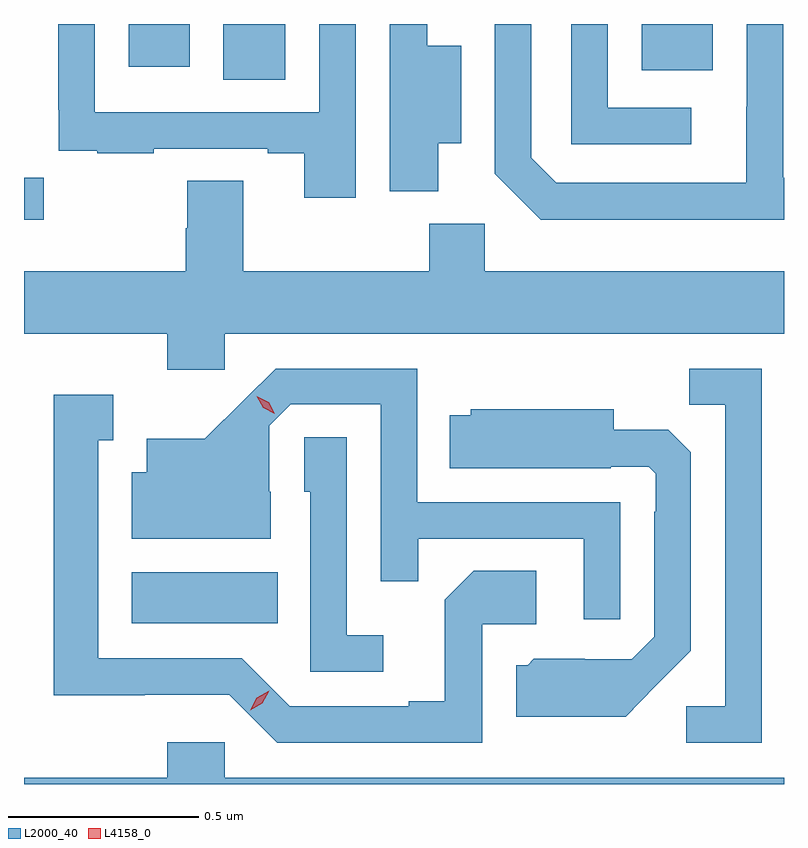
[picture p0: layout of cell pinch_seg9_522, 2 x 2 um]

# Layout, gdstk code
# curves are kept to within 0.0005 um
import gdstk
lib = gdstk.Library(unit=1e-6, precision=1e-09)
def R(c, l, rs):  # rectangles x0, y0, x1, y1
    for r in rs: c.add(gdstk.rectangle(r[:2], r[2:], *l))
def P(c, l, *ps):  # polygons
    for p in ps: c.add(gdstk.Polygon(p, *l))
L2000_40 = (2000, 40)
L4158_0 = (4158, 0)

pinch_seg9_522 = lib.new_cell('pinch_seg9_522')
R(pinch_seg9_522, L2000_40, [(281.894,1200.986,282.278,1201.12), (281.61,1202.048,281.662,1202.158), (282.134,1202.416,282.298,1202.563), (283.235,1202.441,283.423,1202.563), (281.885,1202.451,282.046,1202.563)])
P(pinch_seg9_522, L2000_40, [(283.61,1202.158),(283.608,1202.158),(283.608,1202.563),(283.512,1202.563),(283.512,1202.345),(283.511,1202.345),(283.511,1202.145),(283.011,1202.145),(282.945,1202.211),(282.945,1202.563),(282.849,1202.563),(282.849,1202.169),(282.97,1202.048),(283.61,1202.048)],
  [(282.7,1202.249),(282.76,1202.249),(282.76,1202.506),(282.671,1202.506),(282.671,1202.563),(282.573,1202.563),(282.573,1202.123),(282.7,1202.123)],
  [(282.483,1202.563),(282.387,1202.563),(282.387,1202.331),(281.796,1202.331),(281.796,1202.563),(281.7,1202.563),(281.7,1202.338),(281.701,1202.338),(281.701,1202.229),(281.803,1202.229),(281.803,1202.223),(281.951,1202.223),(281.951,1202.235),(282.251,1202.235),(282.251,1202.223),(282.347,1202.223),(282.347,1202.106),(282.483,1202.106)],
  [(283.366,1202.343),(283.146,1202.343),(283.146,1202.563),(283.05,1202.563),(283.05,1202.247),(283.366,1202.247)],
  [(282.138,1201.748),(283.61,1201.748),(283.61,1201.912),(282.822,1201.912),(282.822,1202.038),(282.676,1202.038),(282.676,1201.912),(282.187,1201.912),(282.187,1202.15),(282.04,1202.15),(282.04,1202.025),(282.035,1202.025),(282.035,1201.912),(281.61,1201.912),(281.61,1201.748),(281.987,1201.748),(281.987,1201.653),(282.138,1201.653)],
  [(283.551,1201.656),(283.36,1201.656),(283.36,1201.561),(283.455,1201.561),(283.455,1200.768),(283.353,1200.768),(283.353,1200.672),(283.551,1200.672)],
  [(283.179,1201.305),(282.645,1201.305),(282.645,1201.656),(282.272,1201.656),(282.085,1201.471),(281.933,1201.471),(281.933,1201.384),(281.894,1201.384),(281.894,1201.208),(282.259,1201.208),(282.259,1201.332),(282.255,1201.332),(282.255,1201.506),(282.312,1201.563),(282.549,1201.563),(282.549,1201.096),(282.647,1201.096),(282.647,1201.209),(283.083,1201.209),(283.083,1200.996),(283.179,1200.996)],
  [(282.816,1200.984),(282.958,1200.984),(282.958,1201.124),(282.793,1201.124),(282.717,1201.048),(282.717,1200.781),(282.623,1200.781),(282.623,1200.768),(282.309,1200.768),(282.183,1200.894),(281.806,1200.894),(281.806,1201.467),(281.845,1201.467),(281.845,1201.588),(281.688,1201.588),(281.688,1200.797),(281.928,1200.797),(281.928,1200.798),(282.15,1200.798),(282.276,1200.672),(282.816,1200.672)],
  [(283.273,1200.821),(283.365,1200.914),(283.365,1201.436),(283.306,1201.495),(283.162,1201.495),(283.162,1201.549),(282.786,1201.549),(282.786,1201.534),(282.73,1201.534),(282.73,1201.394),(283.154,1201.394),(283.154,1201.398),(283.254,1201.398),(283.272,1201.38),(283.272,1201.28),(283.269,1201.28),(283.269,1200.951),(283.209,1200.891),(283.086,1200.891),(283.086,1200.892),(282.952,1200.892),(282.936,1200.876),(282.905,1200.876),(282.905,1200.74),(283.193,1200.74)],
  [(282.556,1200.955),(282.459,1200.955),(282.459,1201.475),(282.348,1201.475),(282.348,1201.332),(282.363,1201.332),(282.363,1200.858),(282.556,1200.858)],
  [(283.61,1200.58),(282.138,1200.58),(282.138,1200.673),(281.987,1200.673),(281.987,1200.58),(281.61,1200.58),(281.61,1200.563),(283.61,1200.563)])
P(pinch_seg9_522, L4158_0, [(282.27,1201.537),(282.24,1201.553),(282.223,1201.583),(282.223,1201.583),(282.223,1201.583),(282.254,1201.568),(282.27,1201.538),(282.27,1201.537)],
  [(282.205,1200.757),(282.205,1200.757),(282.223,1200.79),(282.255,1200.808),(282.255,1200.808),(282.255,1200.808),(282.237,1200.776),(282.206,1200.757)])

lib.write_gds('pinch_seg9_522.gds')
